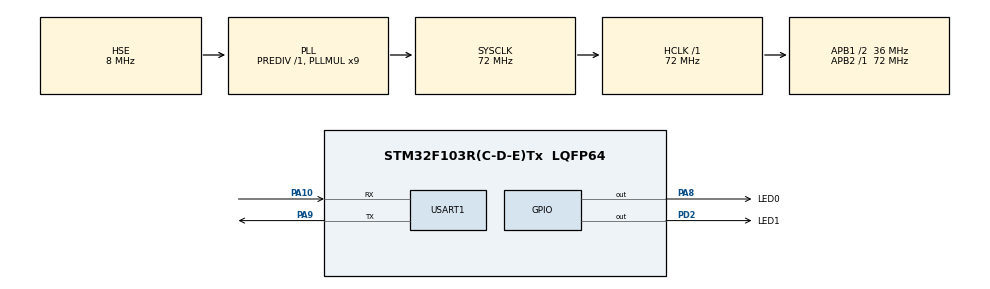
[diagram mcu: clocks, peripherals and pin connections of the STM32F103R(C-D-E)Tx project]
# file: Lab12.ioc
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FREERTOS.BinarySemaphores01=bSem01,Dynamic,NULL;bSemEmpty,Dynamic,NULL;bSemFilled,Dynamic,NULL
FREERTOS.CountingSemaphores01=Sem1,4,Dynamic,NULL
FREERTOS.Tasks01=Periodic,0,128,PeriodicTask,Default,NULL,Dynamic,NULL,NULL;Handle,0,128,HandleTask,Default,NULL,Dynamic,NULL,NULL;Producer,0,128,FuncProducer,Default,NULL,Dynamic,NULL,NULL;Consumer,-1,128,FuncConsumer,Default,NULL,Dynamic,NULL,NULL
FREERTOS.configQUEUE_REGISTRY_SIZE=8
FREERTOS.configTOTAL_HEAP_SIZE=4096
FREERTOS.configUSE_COUNTING_SEMAPHORES=1
Mcu.Family=STM32F1
Mcu.Name=STM32F103R(C-D-E)Tx
Mcu.Package=LQFP64
NVIC.PriorityGroup=NVIC_PRIORITYGROUP_4
NVIC.TIM3_IRQn=true\:0\:0\:false\:false\:true\:false\:false\:true
NVIC.TimeBase=TIM3_IRQn
NVIC.TimeBaseIP=TIM3
NVIC.USART1_IRQn=true\:5\:0\:false\:false\:true\:true\:true\:true
PA10.Mode=Asynchronous
PA10.Signal=USART1_RX
PA13.Mode=Serial_Wire
PA13.Signal=SYS_JTMS-SWDIO
PA14.Mode=Serial_Wire
PA14.Signal=SYS_JTCK-SWCLK
PA8.GPIO_Label=LED0
PA8.Signal=GPIO_Output
PA9.Mode=Asynchronous
PA9.Signal=USART1_TX
PD0-OSC_IN.Mode=HSE-External-Oscillator
PD0-OSC_IN.Signal=RCC_OSC_IN
PD1-OSC_OUT.Mode=HSE-External-Oscillator
PD1-OSC_OUT.Signal=RCC_OSC_OUT
PD2.GPIO_Label=LED1
PD2.Signal=GPIO_Output
ProjectManager.HeapSize=0x200
ProjectManager.StackSize=0x400
ProjectManager.TargetToolchain=STM32CubeIDE
RCC.AHBFreq_Value=72000000
RCC.APB1CLKDivider=RCC_HCLK_DIV2
RCC.APB1Freq_Value=36000000
RCC.APB1TimFreq_Value=72000000
RCC.APB2Freq_Value=72000000
RCC.APB2TimFreq_Value=72000000
RCC.HCLKFreq_Value=72000000
RCC.PLLMUL=RCC_PLL_MUL9
RCC.PLLSourceVirtual=RCC_PLLSOURCE_HSE
RCC.SYSCLKFreq_VALUE=72000000
RCC.SYSCLKSource=RCC_SYSCLKSOURCE_PLLCLK
RCC.USBFreq_Value=72000000
USART1.VirtualMode=VM_ASYNC
VP_FREERTOS_VS_CMSIS_V1.Mode=CMSIS_V1
VP_SYS_VS_tim3.Mode=TIM3
board=custom

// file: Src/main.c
/* USER CODE BEGIN Header */
/**
 ******************************************************************************
 * @file           : main.c
 * @brief          : Main program body
 ******************************************************************************
 * @attention
 *
 * <h2><center>&copy; Copyright (c) 2019 STMicroelectronics.
 * All rights reserved.</center></h2>
 *
 * This software component is licensed by ST under BSD 3-Clause license,
 * the "License"; You may not use this file except in compliance with the
 * License. You may obtain a copy of the License at:
 *                        opensource.org/licenses/BSD-3-Clause
 *
 ******************************************************************************
 */
/* USER CODE END Header */

#include "main.h"
#include "cmsis_os.h"
#include "usart.h"
#include "gpio.h"

void SystemClock_Config(void);
void MX_FREERTOS_Init(void);

int main(void)
{

  /* MCU Configuration--------------------------------------------------------*/

  /* Reset of all peripherals, Initializes the Flash interface and the Systick. */
  HAL_Init();

  /* Configure the system clock */
  SystemClock_Config();

  /* Initialize all configured peripherals */
  MX_GPIO_Init();
  MX_USART1_UART_Init();

  /* Call init function for freertos objects (in freertos.c) */
  MX_FREERTOS_Init();

  /* Start scheduler */
  osKernelStart();

  /* We should never get here as control is now taken by the scheduler */

  /* Infinite loop */
	while (1) {

	}
}

void SystemClock_Config(void)
{
  RCC_OscInitTypeDef RCC_OscInitStruct = {0};
  RCC_ClkInitTypeDef RCC_ClkInitStruct = {0};

  /** Initializes the CPU, AHB and APB busses clocks
  */
  RCC_OscInitStruct.OscillatorType = RCC_OSCILLATORTYPE_HSE;
  RCC_OscInitStruct.HSEState = RCC_HSE_ON;
  RCC_OscInitStruct.HSEPredivValue = RCC_HSE_PREDIV_DIV1;
  RCC_OscInitStruct.HSIState = RCC_HSI_ON;
  RCC_OscInitStruct.PLL.PLLState = RCC_PLL_ON;
  RCC_OscInitStruct.PLL.PLLSource = RCC_PLLSOURCE_HSE;
  RCC_OscInitStruct.PLL.PLLMUL = RCC_PLL_MUL9;
  if (HAL_RCC_OscConfig(&RCC_OscInitStruct) != HAL_OK)
  {
    Error_Handler();
  }
  /** Initializes the CPU, AHB and APB busses clocks
  */
  RCC_ClkInitStruct.ClockType = RCC_CLOCKTYPE_HCLK|RCC_CLOCKTYPE_SYSCLK
                              |RCC_CLOCKTYPE_PCLK1|RCC_CLOCKTYPE_PCLK2;
  RCC_ClkInitStruct.SYSCLKSource = RCC_SYSCLKSOURCE_PLLCLK;
  RCC_ClkInitStruct.AHBCLKDivider = RCC_SYSCLK_DIV1;
  RCC_ClkInitStruct.APB1CLKDivider = RCC_HCLK_DIV2;
  RCC_ClkInitStruct.APB2CLKDivider = RCC_HCLK_DIV1;

  if (HAL_RCC_ClockConfig(&RCC_ClkInitStruct, FLASH_LATENCY_2) != HAL_OK)
  {
    Error_Handler();
  }
}

void HAL_TIM_PeriodElapsedCallback(TIM_HandleTypeDef *htim)
{
  if (htim->Instance == TIM3) {
    HAL_IncTick();
  }
}

void Error_Handler(void)
{
}

/************************ (C) COPYRIGHT STMicroelectronics *****END OF FILE****/

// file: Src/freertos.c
/* USER CODE BEGIN Header */
/**
 ******************************************************************************
 * File Name          : freertos.c
 * Description        : Code for freertos applications
 ******************************************************************************
 * @attention
 *
 * <h2><center>&copy; Copyright (c) 2019 STMicroelectronics.
 * All rights reserved.</center></h2>
 *
 * This software component is licensed by ST under Ultimate Liberty license
 * SLA0044, the "License"; You may not use this file except in compliance with
 * the License. You may obtain a copy of the License at:
 *                             www.st.com/SLA0044
 *
 ******************************************************************************
 */
/* USER CODE END Header */

#include "FreeRTOS.h"
#include "task.h"
#include "main.h"
#include "cmsis_os.h"

osThreadId PeriodicHandle;
osThreadId HandleHandle;
osThreadId ProducerHandle;
osThreadId ConsumerHandle;
osSemaphoreId bSem01Handle;
osSemaphoreId bSemEmptyHandle;
osSemaphoreId bSemFilledHandle;
osSemaphoreId Sem1Handle;

void PeriodicTask(void const * argument);
void HandleTask(void const * argument);
void FuncProducer(void const * argument);
void FuncConsumer(void const * argument);

void MX_FREERTOS_Init(void); /* (MISRA C 2004 rule 8.1) */

void MX_FREERTOS_Init(void) {

	/* Create the semaphores(s) */
	/* definition and creation of bSem01 */
	osSemaphoreDef(bSem01);
	bSem01Handle = osSemaphoreCreate(osSemaphore(bSem01), 1);

	/* definition and creation of bSemEmpty */
	osSemaphoreDef(bSemEmpty);
	bSemEmptyHandle = osSemaphoreCreate(osSemaphore(bSemEmpty), 1);

	/* definition and creation of bSemFilled */
	osSemaphoreDef(bSemFilled);
	bSemFilledHandle = osSemaphoreCreate(osSemaphore(bSemFilled), 1);

	/* definition and creation of Sem1 */
	osSemaphoreDef(Sem1);
	Sem1Handle = osSemaphoreCreate(osSemaphore(Sem1), 4);

	/* Create the thread(s) */
	/* definition and creation of Periodic */
	osThreadDef(Periodic, PeriodicTask, osPriorityNormal, 0, 128);
	PeriodicHandle = osThreadCreate(osThread(Periodic), NULL);

	/* definition and creation of Handle */
	osThreadDef(Handle, HandleTask, osPriorityNormal, 0, 128);
	HandleHandle = osThreadCreate(osThread(Handle), NULL);

	/* definition and creation of Producer */
	osThreadDef(Producer, FuncProducer, osPriorityNormal, 0, 128);
	ProducerHandle = osThreadCreate(osThread(Producer), NULL);

	/* definition and creation of Consumer */
	osThreadDef(Consumer, FuncConsumer, osPriorityNormal, 0, 128);
	ConsumerHandle = osThreadCreate(osThread(Consumer), NULL);

}

UART_HandleTypeDef huart1;
unsigned char msg[40] = { 0 };
void PeriodicTask(void const * argument) {

	/* USER CODE BEGIN PeriodicTask */
	/* Infinite loop */
	for (;;) {
		osDelay(1000);
		osSemaphoreRelease(bSem01Handle);
	}
	/* USER CODE END PeriodicTask */
}

void HandleTask(void const * argument) {
	/* USER CODE BEGIN HandleTask */
	/* Infinite loop */
	for (;;) {
		osSemaphoreWait(bSem01Handle, osWaitForever);
		HAL_GPIO_TogglePin(LED0_GPIO_Port, LED0_Pin);
		HAL_GPIO_TogglePin(LED1_GPIO_Port, LED1_Pin);
	}
	/* USER CODE END HandleTask */
}

void FuncProducer(void const * argument) {
	/* USER CODE BEGIN FuncProducer */
	/* Infinite loop */
	for (;;) {
		//osSemaphoreWait(bSemEmptyHandle, osWaitForever);
		if (!uxSemaphoreGetCount(Sem1Handle)){
			osSemaphoreRelease(Sem1Handle);
			osSemaphoreRelease(Sem1Handle);
			osSemaphoreRelease(Sem1Handle);
			osSemaphoreRelease(Sem1Handle);
		}
		sprintf(msg, "Producer produce data %d\r\n",uxSemaphoreGetCount(Sem1Handle));
		HAL_UART_Transmit(&huart1, (uint8_t*) msg, strlen(msg), HAL_MAX_DELAY);
		HAL_Delay(500);
		//osSemaphoreRelease(Sem1Handle);
	}
	/* USER CODE END FuncProducer */
}

void FuncConsumer(void const * argument) {
	/* USER CODE BEGIN FuncConsumer */
	/* Infinite loop */
	for (;;) {
		//osSemaphoreWait(bSemFilledHandle, osWaitForever);
		osSemaphoreWait(Sem1Handle, osWaitForever);
		sprintf(msg, "Consumer consume data\r\n");
		HAL_UART_Transmit(&huart1, (uint8_t*) msg, strlen(msg), HAL_MAX_DELAY);
		HAL_Delay(500);
		//osSemaphoreRelease(bSemEmptyHandle);
		//osSemaphoreRelease(Sem1Handle);
	}
	/* USER CODE END FuncConsumer */
}

/************************ (C) COPYRIGHT STMicroelectronics *****END OF FILE****/
